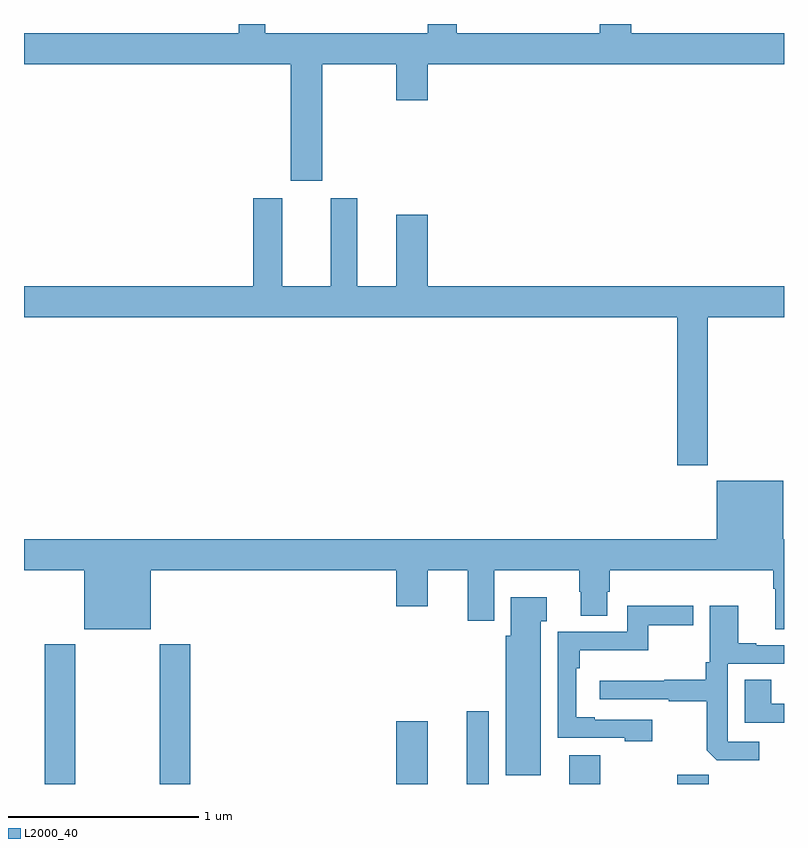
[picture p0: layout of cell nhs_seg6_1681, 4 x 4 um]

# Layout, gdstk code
import gdstk
lib = gdstk.Library(unit=1e-6, precision=1e-09)
def R(c, l, rs):  # rectangles x0, y0, x1, y1
    for r in rs: c.add(gdstk.rectangle(r[:2], r[2:], *l))
def P(c, l, *ps):  # polygons
    for p in ps: c.add(gdstk.Polygon(p, *l))
L2000_40 = (2000, 40)

nhs_seg6_1681 = lib.new_cell('nhs_seg6_1681')
R(nhs_seg6_1681, L2000_40, [(211.109,991.5,211.269,992.236), (211.714,991.5,211.874,992.236), (212.96,991.5,213.124,991.831), (213.329,991.5,213.445,991.882), (213.869,991.5,214.033,991.651), (214.439,991.5,214.603,991.549)])
P(nhs_seg6_1681, L2000_40, [(212.569,995.288),(212.96,995.288),(212.96,995.1),(213.124,995.1),(213.124,995.288),(215,995.288),(215,995.452),(214.196,995.452),(214.196,995.5),(214.031,995.5),(214.031,995.452),(213.278,995.452),(213.278,995.5),(213.125,995.5),(213.125,995.452),(212.269,995.452),(212.269,995.5),(212.13,995.5),(212.13,995.452),(211,995.452),(211,995.288),(212.405,995.288),(212.405,994.674),(212.569,994.674)],
  [(214.599,993.956),(215,993.956),(215,994.12),(213.124,994.12),(213.124,994.495),(212.96,994.495),(212.96,994.12),(212.755,994.12),(212.755,994.582),(212.615,994.582),(212.615,994.12),(212.359,994.12),(212.359,994.582),(212.207,994.582),(212.207,994.12),(211,994.12),(211,993.956),(214.439,993.956),(214.439,993.177),(214.599,993.177)],
  [(215,992.788),(214.996,992.788),(214.996,993.097),(214.646,993.097),(214.646,992.788),(211,992.788),(211,992.624),(211.316,992.624),(211.316,992.315),(211.666,992.315),(211.666,992.624),(212.96,992.624),(212.96,992.436),(213.124,992.436),(213.124,992.624),(213.335,992.624),(213.335,992.358),(213.475,992.358),(213.475,992.624),(213.922,992.624),(213.922,992.511),(213.929,992.511),(213.929,992.386),(214.069,992.386),(214.069,992.511),(214.082,992.511),(214.082,992.624),(214.943,992.624),(214.943,992.528),(214.955,992.528),(214.955,992.314),(215,992.314)],
  [(213.721,992.357),(213.751,992.357),(213.751,992.482),(213.563,992.482),(213.563,992.28),(213.536,992.28),(213.536,991.547),(213.721,991.547)],
  [(214.306,991.839),(214.003,991.839),(214.003,991.852),(213.906,991.852),(213.906,992.108),(213.926,992.108),(213.926,992.204),(214.285,992.204),(214.285,992.335),(214.522,992.335),(214.522,992.438),(214.176,992.438),(214.176,992.301),(213.81,992.301),(213.81,991.743),(214.161,991.743),(214.161,991.724),(214.306,991.724)],
  [(214.87,991.722),(214.704,991.722),(214.704,992.133),(215,992.133),(215,992.229),(214.855,992.229),(214.855,992.242),(214.759,992.242),(214.759,992.437),(214.608,992.437),(214.608,992.14),(214.588,992.14),(214.588,992.048),(214.369,992.048),(214.369,992.044),(214.029,992.044),(214.029,991.947),(214.393,991.947),(214.393,991.935),(214.593,991.935),(214.593,991.677),(214.645,991.626),(214.87,991.626)],
  [(215,991.923),(214.933,991.923),(214.933,992.048),(214.793,992.048),(214.793,991.822),(215,991.822)])

lib.write_gds('nhs_seg6_1681.gds')
